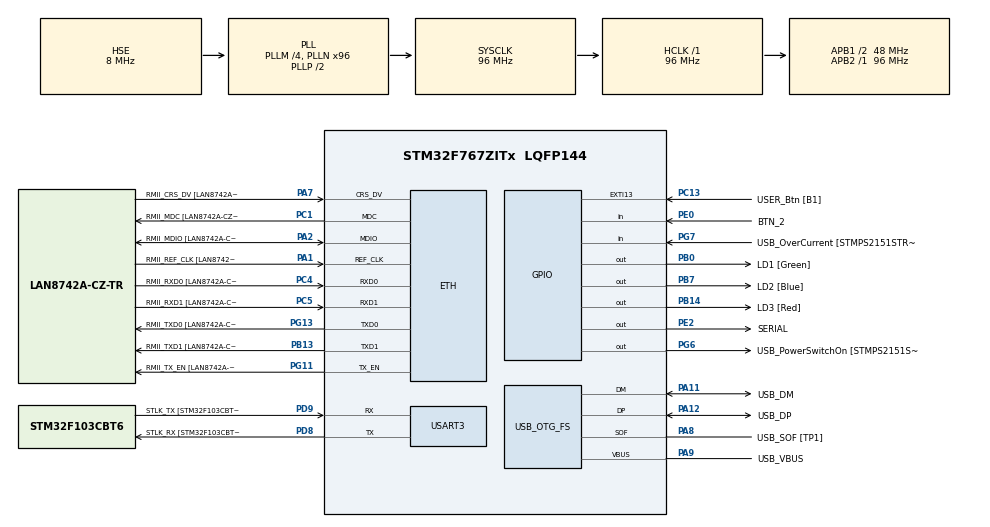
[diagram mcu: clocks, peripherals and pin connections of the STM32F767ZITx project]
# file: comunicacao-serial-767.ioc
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CORTEX_M7.default_mode_Activation=1
ETH.MediaInterface=HAL_ETH_RMII_MODE
ETH.PHY_Name=LAN8742A_PHY_ADDRESS
ETH.PHY_Value=0
ETH.PhyAddress=0
Mcu.Family=STM32F7
Mcu.Name=STM32F767ZITx
Mcu.Package=LQFP144
NVIC.PriorityGroup=NVIC_PRIORITYGROUP_4
PA1.GPIO_Label=RMII_REF_CLK [LAN8742A-CZ-TR_REFCLK0]
PA1.Mode=RMII
PA1.Signal=ETH_REF_CLK
PA10.GPIO_Label=USB_ID
PA10.Signal=USB_OTG_FS_ID
PA11.GPIO_Label=USB_DM
PA11.Mode=Device_Only
PA11.Signal=USB_OTG_FS_DM
PA12.GPIO_Label=USB_DP
PA12.Mode=Device_Only
PA12.Signal=USB_OTG_FS_DP
PA13.GPIO_Label=TMS
PA13.Mode=Serial_Wire
PA13.Signal=SYS_JTMS-SWDIO
PA14.GPIO_Label=TCK
PA14.Mode=Serial_Wire
PA14.Signal=SYS_JTCK-SWCLK
PA2.GPIO_Label=RMII_MDIO [LAN8742A-CZ-TR_MDIO]
PA2.Mode=RMII
PA2.Signal=ETH_MDIO
PA7.GPIO_Label=RMII_CRS_DV [LAN8742A-CZ-TR_CRS_DV]
PA7.Mode=RMII
PA7.Signal=ETH_CRS_DV
PA8.GPIO_Label=USB_SOF [TP1]
PA8.Mode=Activate_SOF_FS
PA8.Signal=USB_OTG_FS_SOF
PA9.GPIO_Label=USB_VBUS
PA9.Mode=Activate_VBUS
PA9.Signal=USB_OTG_FS_VBUS
PB0.GPIO_Label=LD1 [Green]
PB0.Signal=GPIO_Output
PB13.GPIO_Label=RMII_TXD1 [LAN8742A-CZ-TR_TXD1]
PB13.Mode=RMII
PB13.Signal=ETH_TXD1
PB14.GPIO_Label=LD3 [Red]
PB14.Signal=GPIO_Output
PB3.GPIO_Label=SWO
PB3.Signal=SYS_JTDO-SWO
PB7.GPIO_Label=LD2 [Blue]
PB7.Signal=GPIO_Output
PC1.GPIO_Label=RMII_MDC [LAN8742A-CZ-TR_MDC]
PC1.Mode=RMII
PC1.Signal=ETH_MDC
PC13.GPIO_Label=USER_Btn [B1]
PC13.Signal=GPXTI13
PC14/OSC32_IN.Mode=LSE-External-Oscillator
PC14/OSC32_IN.Signal=RCC_OSC32_IN
PC15/OSC32_OUT.Mode=LSE-External-Oscillator
PC15/OSC32_OUT.Signal=RCC_OSC32_OUT
PC4.GPIO_Label=RMII_RXD0 [LAN8742A-CZ-TR_RXD0]
PC4.Mode=RMII
PC4.Signal=ETH_RXD0
PC5.GPIO_Label=RMII_RXD1 [LAN8742A-CZ-TR_RXD1]
PC5.Mode=RMII
PC5.Signal=ETH_RXD1
PD8.GPIO_Label=STLK_RX [STM32F103CBT6_PA3]
PD8.Mode=Asynchronous
PD8.Signal=USART3_TX
PD9.GPIO_Label=STLK_TX [STM32F103CBT6_PA2]
PD9.Mode=Asynchronous
PD9.Signal=USART3_RX
PE0.GPIO_Label=BTN_2
PE0.GPIO_PuPd=GPIO_PULLUP
PE0.Signal=GPIO_Input
PE2.GPIO_Label=SERIAL
PE2.GPIO_ModeDefaultOutputPP=GPIO_MODE_OUTPUT_OD
PE2.GPIO_PuPd=GPIO_PULLUP
PE2.GPIO_Speed=GPIO_SPEED_FREQ_HIGH
PE2.PinState=GPIO_PIN_SET
PE2.Signal=GPIO_Output
PG11.GPIO_Label=RMII_TX_EN [LAN8742A-CZ-TR_TXEN]
PG11.Mode=RMII
PG11.Signal=ETH_TX_EN
PG13.GPIO_Label=RMII_TXD0 [LAN8742A-CZ-TR_TXD0]
PG13.Mode=RMII
PG13.Signal=ETH_TXD0
PG6.GPIO_Label=USB_PowerSwitchOn [STMPS2151STR_EN]
PG6.Signal=GPIO_Output
PG7.GPIO_Label=USB_OverCurrent [STMPS2151STR_FAULT]
PG7.Signal=GPIO_Input
PH0/OSC_IN.GPIO_Label=MCO [STM32F103CBT6_PA8]
PH0/OSC_IN.Mode=HSE-External-Clock-Source
PH0/OSC_IN.Signal=RCC_OSC_IN
PH1/OSC_OUT.Mode=HSE-External-Clock-Source
PH1/OSC_OUT.Signal=RCC_OSC_OUT
ProjectManager.HeapSize=0x200
ProjectManager.StackSize=0x400
ProjectManager.TargetToolchain=STM32CubeIDE
RCC.48MHZClocksFreq_Value=24000000
RCC.AHBFreq_Value=96000000
RCC.APB1CLKDivider=RCC_HCLK_DIV2
RCC.APB1Freq_Value=48000000
RCC.APB1TimFreq_Value=96000000
RCC.APB2Freq_Value=96000000
RCC.APB2TimFreq_Value=96000000
RCC.CortexFreq_Value=96000000
RCC.HCLKFreq_Value=96000000
RCC.HSE_VALUE=8000000
RCC.HSI_VALUE=16000000
RCC.PLLM=4
RCC.PLLMUL=RCC_PLL_MUL9
RCC.PLLN=96
RCC.PLLQ=4
RCC.PRESCALERUSB=RCC_USBCLKSOURCE_PLL_DIV1_5
RCC.SYSCLKFreq_VALUE=96000000
RCC.SYSCLKSource=RCC_SYSCLKSOURCE_PLLCLK
RCC.SYSCLKSourceVirtual=RCC_SYSCLKSOURCE_PLLCLK
RCC.USBFreq_Value=48000000
RCC.VCOOutputFreq_Value=192000000
USART3.VirtualMode-Asynchronous=VM_ASYNC
USB_OTG_FS.VirtualMode=Device_Only
board=NUCLEO-F767ZI

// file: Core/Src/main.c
/* USER CODE BEGIN Header */
/**
  ******************************************************************************
  * @file           : main.c
  * @brief          : Main program body
  ******************************************************************************
  * @attention
  *
  * Copyright (c) 2026 STMicroelectronics.
  * All rights reserved.
  *
  * This software is licensed under terms that can be found in the LICENSE file
  * in the root directory of this software component.
  * If no LICENSE file comes with this software, it is provided AS-IS.
  *
  ******************************************************************************
  */
/* USER CODE END Header */
#include "main.h"
#include "string.h"

/* USER CODE BEGIN Includes */
#include "Utilities.h"
/* USER CODE END Includes */

/* USER CODE BEGIN PD */
#define	TEMPO_BIT	50		//duração de umbit (em us)
#define	NUM_BITS	8		//quantidade de bits de dados no frame
/* USER CODE END PD */

#if defined ( __ICCARM__ ) /*!< IAR Compiler */
#pragma location=0x2007c000
ETH_DMADescTypeDef  DMARxDscrTab[ETH_RX_DESC_CNT]; /* Ethernet Rx DMA Descriptors */
#pragma location=0x2007c0a0
ETH_DMADescTypeDef  DMATxDscrTab[ETH_TX_DESC_CNT]; /* Ethernet Tx DMA Descriptors */

#elif defined ( __CC_ARM )  /* MDK ARM Compiler */

__attribute__((at(0x2007c000))) ETH_DMADescTypeDef  DMARxDscrTab[ETH_RX_DESC_CNT]; /* Ethernet Rx DMA Descriptors */
__attribute__((at(0x2007c0a0))) ETH_DMADescTypeDef  DMATxDscrTab[ETH_TX_DESC_CNT]; /* Ethernet Tx DMA Descriptors */

#elif defined ( __GNUC__ ) /* GNU Compiler */

ETH_DMADescTypeDef DMARxDscrTab[ETH_RX_DESC_CNT] __attribute__((section(".RxDecripSection"))); /* Ethernet Rx DMA Descriptors */
ETH_DMADescTypeDef DMATxDscrTab[ETH_TX_DESC_CNT] __attribute__((section(".TxDecripSection")));   /* Ethernet Tx DMA Descriptors */
#endif

ETH_TxPacketConfig TxConfig;

ETH_HandleTypeDef heth;

UART_HandleTypeDef huart3;

PCD_HandleTypeDef hpcd_USB_OTG_FS;

void SystemClock_Config(void);
static void MPU_Config(void);
static void MX_GPIO_Init(void);
static void MX_ETH_Init(void);
static void MX_USART3_UART_Init(void);
static void MX_USB_OTG_FS_PCD_Init(void);
/* USER CODE BEGIN PFP */
//Protótipos de funções
uint8_t envia_cmd(uint8_t dado); // Retorna 1 se o handshake foi OK, 0 se falhou
uint8_t recebe_cmd(void);
/* Omiti o buzzer, usaremos o LED vermelho da placa (LD3) como alerta */
/* USER CODE END PFP */

int main(void)
{

  /* MPU Configuration--------------------------------------------------------*/
  MPU_Config();

  /* MCU Configuration--------------------------------------------------------*/

  /* Reset of all peripherals, Initializes the Flash interface and the Systick. */
  HAL_Init();

  /* Configure the system clock */
  SystemClock_Config();

  /* Initialize all configured peripherals */
  MX_GPIO_Init();
  MX_ETH_Init();
  MX_USART3_UART_Init();
  MX_USB_OTG_FS_PCD_Init();

  /* Infinite loop */
  /* USER CODE BEGIN WHILE */
      TIM2_Micros_Init();

      // Variáveis para guardar o estado dos botões (0 = solto, 1 = segurado)
      uint8_t estado_btn_user = 0;
      uint8_t estado_btn_ext = 0;

      // Variáveis para guardar a "hora" (em milissegundos) do último clique
      uint32_t tempo_btn_user = 0;
      uint32_t tempo_btn_ext = 0;

      while (1)
      {
          // 1. PRIORIDADE MÁXIMA: Recebimento Serial
          if(HAL_GPIO_ReadPin(SERIAL_GPIO_Port, SERIAL_Pin) == GPIO_PIN_RESET)
          {
              uint8_t recebido = recebe_cmd();
              if(recebido == 0xAA)
              {
                  HAL_GPIO_TogglePin(GPIOB, LD1_Pin);  // Comando do User Btn: Alterna LD1 (Verde)
              }
              if(recebido == 0xBB)
              {
                  HAL_GPIO_TogglePin(GPIOB, LD2_Pin);  // Comando do Ext Btn: Alterna LD2 (Azul)
              }
          }

          // 2. Verifica o Botão interno da NUCLEO (PC13 - ALTO quando pressionado)
          if(HAL_GPIO_ReadPin(USER_Btn_GPIO_Port, USER_Btn_Pin) == GPIO_PIN_SET)
          {
              // Só entra se estava solto E se já passou 100ms desde a última vez que mexemos nele (Debounce sem Delay)
              if(estado_btn_user == 0 && (HAL_GetTick() - tempo_btn_user > 100))
              {
                  estado_btn_user = 1; // Trava para não enviar de novo
                  tempo_btn_user = HAL_GetTick(); // Anota o tempo deste evento

                  if(!envia_cmd(0xAA)) {
                      // FALHA DE HANDSHAKE: Alterna o próprio LD1
                      HAL_GPIO_TogglePin(GPIOB, LD1_Pin);
                  }
              }
          }
          else // Se o botão está solto
          {
              // Libera a trava apenas se já passou 100ms desde o aperto (evita repique na hora de soltar)
              if(estado_btn_user == 1 && (HAL_GetTick() - tempo_btn_user > 100)) {
                  estado_btn_user = 0;
                  tempo_btn_user = HAL_GetTick(); // Anota o tempo deste evento
              }
          }

          // 3. Verifica o Botão Externo (PE0 / BTN_2 - BAIXO quando pressionado de acordo com seu código atual)
          if(HAL_GPIO_ReadPin(GPIOE, GPIO_PIN_0) == GPIO_PIN_RESET)
          {
              if(estado_btn_ext == 0 && (HAL_GetTick() - tempo_btn_ext > 100))
              {
                  estado_btn_ext = 1;
                  tempo_btn_ext = HAL_GetTick();

                  if(!envia_cmd(0xBB)) {
                      // FALHA DE HANDSHAKE: Alterna o próprio LD2
                      HAL_GPIO_TogglePin(GPIOB, LD2_Pin);
                  }
              }
          }
          else
          {
              if(estado_btn_ext == 1 && (HAL_GetTick() - tempo_btn_ext > 100)) {
                  estado_btn_ext = 0;
                  tempo_btn_ext = HAL_GetTick();
              }
          }
      }
    /* USER CODE END WHILE */

}

void SystemClock_Config(void)
{
  RCC_OscInitTypeDef RCC_OscInitStruct = {0};
  RCC_ClkInitTypeDef RCC_ClkInitStruct = {0};

  /** Configure LSE Drive Capability
  */
  HAL_PWR_EnableBkUpAccess();

  /** Configure the main internal regulator output voltage
  */
  __HAL_RCC_PWR_CLK_ENABLE();
  __HAL_PWR_VOLTAGESCALING_CONFIG(PWR_REGULATOR_VOLTAGE_SCALE3);

  /** Initializes the RCC Oscillators according to the specified parameters
  * in the RCC_OscInitTypeDef structure.
  */
  RCC_OscInitStruct.OscillatorType = RCC_OSCILLATORTYPE_HSE;
  RCC_OscInitStruct.HSEState = RCC_HSE_BYPASS;
  RCC_OscInitStruct.PLL.PLLState = RCC_PLL_ON;
  RCC_OscInitStruct.PLL.PLLSource = RCC_PLLSOURCE_HSE;
  RCC_OscInitStruct.PLL.PLLM = 4;
  RCC_OscInitStruct.PLL.PLLN = 96;
  RCC_OscInitStruct.PLL.PLLP = RCC_PLLP_DIV2;
  RCC_OscInitStruct.PLL.PLLQ = 4;
  RCC_OscInitStruct.PLL.PLLR = 2;
  if (HAL_RCC_OscConfig(&RCC_OscInitStruct) != HAL_OK)
  {
    Error_Handler();
  }

  /** Activate the Over-Drive mode
  */
  if (HAL_PWREx_EnableOverDrive() != HAL_OK)
  {
    Error_Handler();
  }

  /** Initializes the CPU, AHB and APB buses clocks
  */
  RCC_ClkInitStruct.ClockType = RCC_CLOCKTYPE_HCLK|RCC_CLOCKTYPE_SYSCLK
                              |RCC_CLOCKTYPE_PCLK1|RCC_CLOCKTYPE_PCLK2;
  RCC_ClkInitStruct.SYSCLKSource = RCC_SYSCLKSOURCE_PLLCLK;
  RCC_ClkInitStruct.AHBCLKDivider = RCC_SYSCLK_DIV1;
  RCC_ClkInitStruct.APB1CLKDivider = RCC_HCLK_DIV2;
  RCC_ClkInitStruct.APB2CLKDivider = RCC_HCLK_DIV1;

  if (HAL_RCC_ClockConfig(&RCC_ClkInitStruct, FLASH_LATENCY_3) != HAL_OK)
  {
    Error_Handler();
  }
}

static void MX_ETH_Init(void)
{

   static uint8_t MACAddr[6];

  heth.Instance = ETH;
  MACAddr[0] = 0x00;
  MACAddr[1] = 0x80;
  MACAddr[2] = 0xE1;
  MACAddr[3] = 0x00;
  MACAddr[4] = 0x00;
  MACAddr[5] = 0x00;
  heth.Init.MACAddr = &MACAddr[0];
  heth.Init.MediaInterface = HAL_ETH_RMII_MODE;
  heth.Init.TxDesc = DMATxDscrTab;
  heth.Init.RxDesc = DMARxDscrTab;
  heth.Init.RxBuffLen = 1524;

  if (HAL_ETH_Init(&heth) != HAL_OK)
  {
    Error_Handler();
  }

  memset(&TxConfig, 0 , sizeof(ETH_TxPacketConfig));
  TxConfig.Attributes = ETH_TX_PACKETS_FEATURES_CSUM | ETH_TX_PACKETS_FEATURES_CRCPAD;
  TxConfig.ChecksumCtrl = ETH_CHECKSUM_IPHDR_PAYLOAD_INSERT_PHDR_CALC;
  TxConfig.CRCPadCtrl = ETH_CRC_PAD_INSERT;

}

static void MX_USART3_UART_Init(void)
{

  huart3.Instance = USART3;
  huart3.Init.BaudRate = 115200;
  huart3.Init.WordLength = UART_WORDLENGTH_8B;
  huart3.Init.StopBits = UART_STOPBITS_1;
  huart3.Init.Parity = UART_PARITY_NONE;
  huart3.Init.Mode = UART_MODE_TX_RX;
  huart3.Init.HwFlowCtl = UART_HWCONTROL_NONE;
  huart3.Init.OverSampling = UART_OVERSAMPLING_16;
  huart3.Init.OneBitSampling = UART_ONE_BIT_SAMPLE_DISABLE;
  huart3.AdvancedInit.AdvFeatureInit = UART_ADVFEATURE_NO_INIT;
  if (HAL_UART_Init(&huart3) != HAL_OK)
  {
    Error_Handler();
  }

}

static void MX_USB_OTG_FS_PCD_Init(void)
{

  hpcd_USB_OTG_FS.Instance = USB_OTG_FS;
  hpcd_USB_OTG_FS.Init.dev_endpoints = 6;
  hpcd_USB_OTG_FS.Init.speed = PCD_SPEED_FULL;
  hpcd_USB_OTG_FS.Init.dma_enable = DISABLE;
  hpcd_USB_OTG_FS.Init.phy_itface = PCD_PHY_EMBEDDED;
  hpcd_USB_OTG_FS.Init.Sof_enable = ENABLE;
  hpcd_USB_OTG_FS.Init.low_power_enable = DISABLE;
  hpcd_USB_OTG_FS.Init.lpm_enable = DISABLE;
  hpcd_USB_OTG_FS.Init.vbus_sensing_enable = ENABLE;
  hpcd_USB_OTG_FS.Init.use_dedicated_ep1 = DISABLE;
  if (HAL_PCD_Init(&hpcd_USB_OTG_FS) != HAL_OK)
  {
    Error_Handler();
  }

}

static void MX_GPIO_Init(void)
{
  GPIO_InitTypeDef GPIO_InitStruct = {0};

  /* GPIO Ports Clock Enable */
  __HAL_RCC_GPIOE_CLK_ENABLE();
  __HAL_RCC_GPIOC_CLK_ENABLE();
  __HAL_RCC_GPIOH_CLK_ENABLE();
  __HAL_RCC_GPIOA_CLK_ENABLE();
  __HAL_RCC_GPIOB_CLK_ENABLE();
  __HAL_RCC_GPIOD_CLK_ENABLE();
  __HAL_RCC_GPIOG_CLK_ENABLE();

  /*Configure GPIO pin Output Level */
  HAL_GPIO_WritePin(SERIAL_GPIO_Port, SERIAL_Pin, GPIO_PIN_SET);

  /*Configure GPIO pin Output Level */
  HAL_GPIO_WritePin(GPIOB, LD1_Pin|LD3_Pin|LD2_Pin, GPIO_PIN_RESET);

  /*Configure GPIO pin Output Level */
  HAL_GPIO_WritePin(USB_PowerSwitchOn_GPIO_Port, USB_PowerSwitchOn_Pin, GPIO_PIN_RESET);

  /*Configure GPIO pin : SERIAL_Pin */
  GPIO_InitStruct.Pin = SERIAL_Pin;
  GPIO_InitStruct.Mode = GPIO_MODE_OUTPUT_OD;
  GPIO_InitStruct.Pull = GPIO_PULLUP;
  GPIO_InitStruct.Speed = GPIO_SPEED_FREQ_HIGH;
  HAL_GPIO_Init(SERIAL_GPIO_Port, &GPIO_InitStruct);

  /*Configure GPIO pin : USER_Btn_Pin */
  GPIO_InitStruct.Pin = USER_Btn_Pin;
  GPIO_InitStruct.Mode = GPIO_MODE_IT_RISING;
  GPIO_InitStruct.Pull = GPIO_NOPULL;
  HAL_GPIO_Init(USER_Btn_GPIO_Port, &GPIO_InitStruct);

  /*Configure GPIO pins : LD1_Pin LD3_Pin LD2_Pin */
  GPIO_InitStruct.Pin = LD1_Pin|LD3_Pin|LD2_Pin;
  GPIO_InitStruct.Mode = GPIO_MODE_OUTPUT_PP;
  GPIO_InitStruct.Pull = GPIO_NOPULL;
  GPIO_InitStruct.Speed = GPIO_SPEED_FREQ_LOW;
  HAL_GPIO_Init(GPIOB, &GPIO_InitStruct);

  /*Configure GPIO pin : USB_PowerSwitchOn_Pin */
  GPIO_InitStruct.Pin = USB_PowerSwitchOn_Pin;
  GPIO_InitStruct.Mode = GPIO_MODE_OUTPUT_PP;
  GPIO_InitStruct.Pull = GPIO_NOPULL;
  GPIO_InitStruct.Speed = GPIO_SPEED_FREQ_LOW;
  HAL_GPIO_Init(USB_PowerSwitchOn_GPIO_Port, &GPIO_InitStruct);

  /*Configure GPIO pin : USB_OverCurrent_Pin */
  GPIO_InitStruct.Pin = USB_OverCurrent_Pin;
  GPIO_InitStruct.Mode = GPIO_MODE_INPUT;
  GPIO_InitStruct.Pull = GPIO_NOPULL;
  HAL_GPIO_Init(USB_OverCurrent_GPIO_Port, &GPIO_InitStruct);

  /*Configure GPIO pin : BTN_2_Pin */
  GPIO_InitStruct.Pin = BTN_2_Pin;
  GPIO_InitStruct.Mode = GPIO_MODE_INPUT;
  GPIO_InitStruct.Pull = GPIO_PULLUP;
  HAL_GPIO_Init(BTN_2_GPIO_Port, &GPIO_InitStruct);

}

/* USER CODE BEGIN 4 */
uint8_t envia_cmd(uint8_t dado)
{
    HAL_GPIO_WritePin(SERIAL_GPIO_Port, SERIAL_Pin, GPIO_PIN_RESET); // Start bit
    Delay_us(TEMPO_BIT);

    for(uint8_t counter = NUM_BITS; counter; --counter)
    {
        if(dado & 1)
            HAL_GPIO_WritePin(SERIAL_GPIO_Port, SERIAL_Pin, GPIO_PIN_SET);
        else
            HAL_GPIO_WritePin(SERIAL_GPIO_Port, SERIAL_Pin, GPIO_PIN_RESET);

        Delay_us(TEMPO_BIT);
        dado >>= 1;
    }

    HAL_GPIO_WritePin(SERIAL_GPIO_Port, SERIAL_Pin, GPIO_PIN_SET); // Stop bit
    Delay_us(TEMPO_BIT);

    /* Aguardando o Handshake */
    uint8_t ack = 0;
    TIM2->CNT = 0;

    // Timeout aguardando o receptor puxar a linha para baixo
    // (Tempo máximo de espera de 4x o tempo de um bit)
    while(TIM2->CNT < (TEMPO_BIT * 4))
    {
        if(HAL_GPIO_ReadPin(SERIAL_GPIO_Port, SERIAL_Pin) == GPIO_PIN_RESET)
        {
            ack = 1;
            break;
        }
    }

    // Se o handshake aconteceu, aguarda o receptor soltar a linha novamente
    if(ack) {
        while(HAL_GPIO_ReadPin(SERIAL_GPIO_Port, SERIAL_Pin) == GPIO_PIN_RESET);
    }

    return ack; // 1 = Sucesso, 0 = Falha
}

uint8_t recebe_cmd(void)
{
    uint8_t dado_recebido = 0;

    Delay_Half_us(TEMPO_BIT); // Vai para o centro do Start Bit

    if(HAL_GPIO_ReadPin(SERIAL_GPIO_Port, SERIAL_Pin) == GPIO_PIN_RESET)
    {
        for(uint8_t counter = NUM_BITS; counter; --counter)
        {
            Delay_us(TEMPO_BIT); // Centro do próximo bit
            dado_recebido >>= 1;

            if(HAL_GPIO_ReadPin(SERIAL_GPIO_Port, SERIAL_Pin) == GPIO_PIN_SET)
                dado_recebido |= (1 << (NUM_BITS - 1));
            else
                dado_recebido &= ~(1 << (NUM_BITS - 1));
        }

        Delay_us(TEMPO_BIT); // Centro do Stop bit

        if(HAL_GPIO_ReadPin(SERIAL_GPIO_Port, SERIAL_Pin) == GPIO_PIN_SET)
        {
            /* HANDSHAKE: Recebemos com sucesso! Puxamos para GND para avisar */
            HAL_GPIO_WritePin(SERIAL_GPIO_Port, SERIAL_Pin, GPIO_PIN_RESET);
            Delay_us(TEMPO_BIT * 3);
            HAL_GPIO_WritePin(SERIAL_GPIO_Port, SERIAL_Pin, GPIO_PIN_SET);

            return dado_recebido;
        }
    }
    return 0;
}
/* USER CODE END 4 */

 /* MPU Configuration */

void MPU_Config(void)
{
  MPU_Region_InitTypeDef MPU_InitStruct = {0};

  /* Disables the MPU */
  HAL_MPU_Disable();

  /** Initializes and configures the Region and the memory to be protected
  */
  MPU_InitStruct.Enable = MPU_REGION_ENABLE;
  MPU_InitStruct.Number = MPU_REGION_NUMBER0;
  MPU_InitStruct.BaseAddress = 0x0;
  MPU_InitStruct.Size = MPU_REGION_SIZE_4GB;
  MPU_InitStruct.SubRegionDisable = 0x87;
  MPU_InitStruct.TypeExtField = MPU_TEX_LEVEL0;
  MPU_InitStruct.AccessPermission = MPU_REGION_NO_ACCESS;
  MPU_InitStruct.DisableExec = MPU_INSTRUCTION_ACCESS_DISABLE;
  MPU_InitStruct.IsShareable = MPU_ACCESS_SHAREABLE;
  MPU_InitStruct.IsCacheable = MPU_ACCESS_NOT_CACHEABLE;
  MPU_InitStruct.IsBufferable = MPU_ACCESS_NOT_BUFFERABLE;

  HAL_MPU_ConfigRegion(&MPU_InitStruct);
  /* Enables the MPU */
  HAL_MPU_Enable(MPU_PRIVILEGED_DEFAULT);

}

void Error_Handler(void)
{
  __disable_irq();
  while (1)
  {
  }
}
